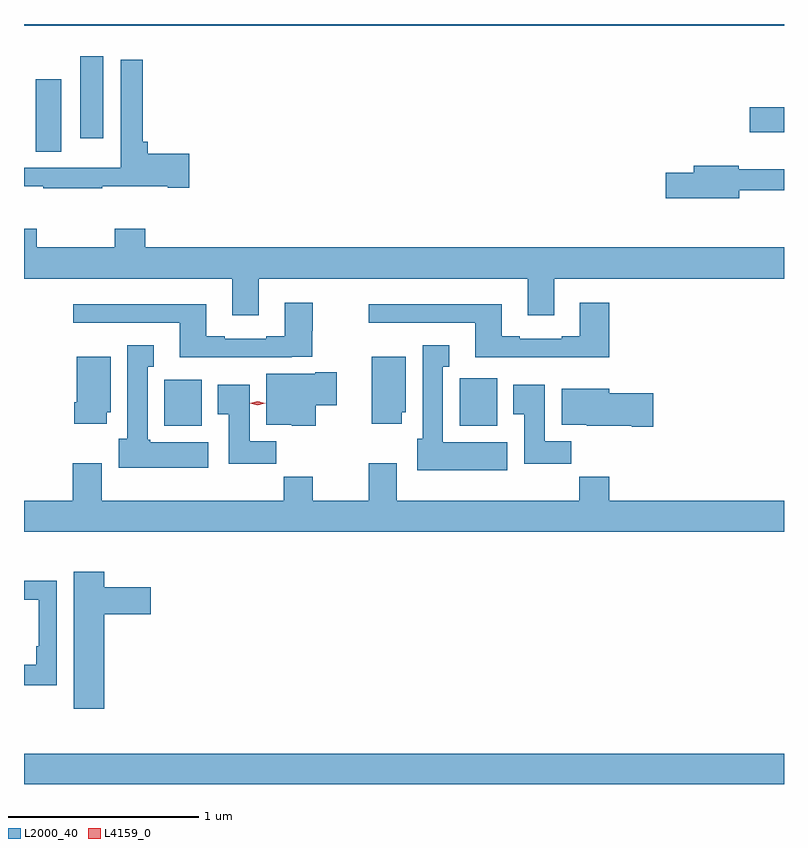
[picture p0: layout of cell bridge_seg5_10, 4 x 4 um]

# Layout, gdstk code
import gdstk
lib = gdstk.Library(unit=1e-6, precision=1e-09)
def R(c, l, rs):  # rectangles x0, y0, x1, y1
    for r in rs: c.add(gdstk.rectangle(r[:2], r[2:], *l))
def P(c, l, *ps):  # polygons
    for p in ps: c.add(gdstk.Polygon(p, *l))
L2000_40 = (2000, 40)
L4159_0 = (4159, 0)

bridge_seg5_10 = lib.new_cell('bridge_seg5_10')
R(bridge_seg5_10, L2000_40, [(1112.785,895.392,1116.785,895.552), (1113.524,897.278,1113.721,897.52), (1115.079,897.278,1115.275,897.528), (1112.846,898.72,1112.98,899.101), (1113.08,898.791,1113.202,899.221), (1116.606,898.823,1116.785,898.953), (1112.785,899.384,1116.785,899.392)])
P(bridge_seg5_10, L2000_40, [(1113.197,898.537),(1113.542,898.537),(1113.542,898.531),(1113.655,898.531),(1113.655,898.709),(1113.437,898.709),(1113.437,898.771),(1113.41,898.771),(1113.41,899.203),(1113.294,899.203),(1113.294,898.636),(1113.084,898.636),(1113.084,898.635),(1112.785,898.635),(1112.785,898.537),(1112.887,898.537),(1112.887,898.527),(1113.197,898.527)],
  [(1116.55,898.518),(1116.785,898.518),(1116.785,898.628),(1116.546,898.628),(1116.546,898.646),(1116.311,898.646),(1116.311,898.61),(1116.162,898.61),(1116.162,898.475),(1116.55,898.475)],
  [(1112.785,898.315),(1112.785,898.052),(1113.881,898.052),(1113.881,897.858),(1114.021,897.858),(1114.021,898.052),(1115.435,898.052),(1115.435,897.858),(1115.575,897.858),(1115.575,898.052),(1116.785,898.052),(1116.785,898.216),(1113.422,898.216),(1113.422,898.315),(1113.262,898.315),(1113.262,898.216),(1112.853,898.216),(1112.853,898.315)],
  [(1115.864,897.925),(1115.711,897.925),(1115.711,897.748),(1115.615,897.748),(1115.615,897.735),(1115.395,897.735),(1115.395,897.748),(1115.299,897.748),(1115.299,897.916),(1114.599,897.916),(1114.599,897.819),(1115.159,897.819),(1115.159,897.638),(1115.864,897.638)],
  [(1114.193,897.64),(1114.303,897.64),(1114.303,897.777),(1114.305,897.777),(1114.305,897.925),(1114.157,897.925),(1114.157,897.748),(1114.061,897.748),(1114.061,897.735),(1113.841,897.735),(1113.841,897.748),(1113.745,897.748),(1113.745,897.916),(1113.045,897.916),(1113.045,897.819),(1113.605,897.819),(1113.605,897.638),(1114.193,897.638)],
  [(1113.754,897.19),(1113.45,897.19),(1113.45,897.204),(1113.436,897.204),(1113.436,897.587),(1113.469,897.587),(1113.469,897.7),(1113.329,897.7),(1113.329,897.21),(1113.284,897.21),(1113.284,897.056),(1113.754,897.056)],
  [(1115.329,897.19),(1114.99,897.19),(1114.99,897.587),(1115.023,897.587),(1115.023,897.7),(1114.883,897.7),(1114.883,897.21),(1114.856,897.21),(1114.856,897.044),(1115.329,897.044)],
  [(1114.774,897.348),(1114.795,897.348),(1114.795,897.64),(1114.616,897.64),(1114.616,897.288),(1114.774,897.288)],
  [(1113.22,897.348),(1113.241,897.348),(1113.241,897.64),(1113.062,897.64),(1113.062,897.4),(1113.05,897.4),(1113.05,897.288),(1113.22,897.288)],
  [(1114.32,897.385),(1114.432,897.385),(1114.432,897.56),(1114.319,897.56),(1114.319,897.55),(1114.061,897.55),(1114.061,897.284),(1114.194,897.284),(1114.194,897.278),(1114.32,897.278)],
  [(1115.666,897.196),(1115.527,897.196),(1115.527,897.493),(1115.36,897.493),(1115.36,897.337),(1115.417,897.337),(1115.417,897.078),(1115.666,897.078)],
  [(1114.112,897.196),(1113.973,897.196),(1113.973,897.493),(1113.806,897.493),(1113.806,897.337),(1113.863,897.337),(1113.863,897.078),(1114.112,897.078)],
  [(1116.097,897.449),(1115.866,897.449),(1115.866,897.472),(1115.615,897.472),(1115.615,897.284),(1115.748,897.284),(1115.748,897.278),(1115.984,897.278),(1115.984,897.271),(1116.097,897.271)],
  [(1116.785,896.884),(1115.864,896.884),(1115.864,897.008),(1115.707,897.008),(1115.707,896.884),(1114.747,896.884),(1114.747,897.079),(1114.6,897.079),(1114.6,896.884),(1114.305,896.884),(1114.305,897.008),(1114.153,897.008),(1114.153,896.884),(1113.193,896.884),(1113.193,897.079),(1113.041,897.079),(1113.041,896.884),(1112.785,896.884),(1112.785,896.72),(1116.785,896.72)],
  [(1113.208,896.285),(1113.451,896.285),(1113.451,896.427),(1113.208,896.427),(1113.208,896.509),(1113.047,896.509),(1113.047,895.788),(1113.208,895.788)],
  [(1112.958,896.462),(1112.785,896.462),(1112.785,896.361),(1112.862,896.361),(1112.862,896.116),(1112.849,896.116),(1112.849,896.02),(1112.785,896.02),(1112.785,895.911),(1112.958,895.911)])
P(bridge_seg5_10, L4159_0, [(1114.015,897.386),(1113.974,897.396),(1113.974,897.396),(1113.974,897.396),(1114.015,897.406),(1114.056,897.397),(1114.056,897.397),(1114.056,897.396)])

lib.write_gds('bridge_seg5_10.gds')
